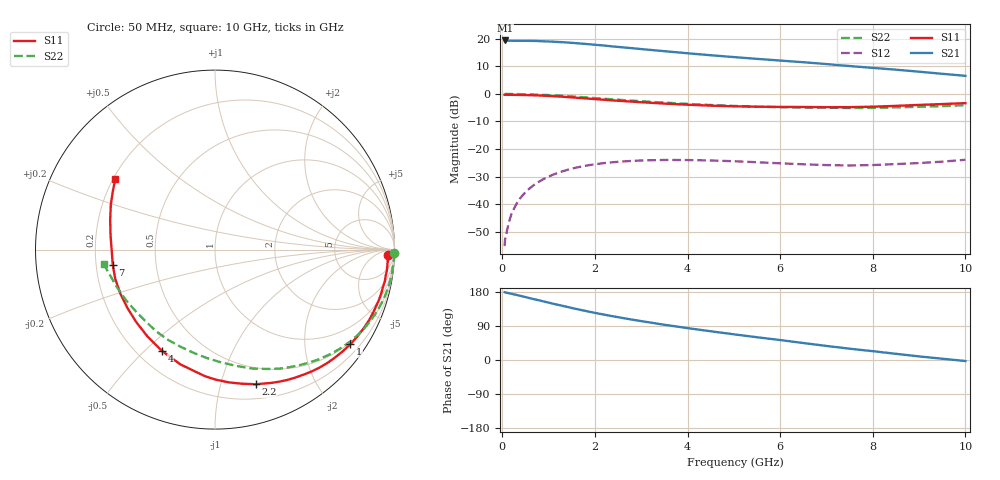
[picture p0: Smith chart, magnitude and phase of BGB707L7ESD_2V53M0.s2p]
!  Infineon Technologies AG
!  BGB707L7ESD RU919007 w#7 Sample Build #08493 Teil Nr. 3
!  Vce = 2.5V, Ic = 3.0mA
!  DATUM: 30.06.2009 10:16:38
# GHz  S  MA  R  50
!f  S11  S21  S12  S22
!GHz  Mag  Ang  Mag  Ang  Mag  Ang  Mag  Ang
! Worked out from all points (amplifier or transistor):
!   52 points, 50 MHz to 10 GHz, reference 50 ohm
!   highest |S21| = 19.4 dB at 60 MHz (marker M1)
!   |S21| within 3 dB of that: start of sweep to 2.92 GHz
!   unconditionally stable (mu >= 1): 6.799 GHz to end of sweep
!   at 130 MHz: K = 0.01, MSG = 33.4 dB, |S12| = -47.4 dB
!   at 1.4 GHz: K = 0.09, MSG = 23.1 dB, |S12| = -27.6 dB
!   at 10 GHz: K = 1.07, MAG = 13.7 dB, |S12| = -23.9 dB
!   lowest NFmin = 0.40 dB at 100 MHz
!   S11 on the Smith chart (normalised r, x): 50 MHz: 34, -29; 1 GHz: 0.45, -3.12; 2.2 GHz: 0.33, -1.29; 4 GHz: 0.30, -0.56; 7 GHz: 0.27, -0.07; 10 GHz: 0.21, +0.31
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0.05  0.9662 -1.6  9.197 178.8  0.001716 98.8  0.9989 -1.1
0.06  0.9696 -2.4  9.369 178.5  0.002308 88.5  0.9988 -1.4
0.08  0.9625 -2.5  9.215 177.7  0.00265 90.3  0.9988 -1.9
0.09  0.9682 -3.4  9.283 178.1  0.002854 85.2  0.9989 -2.2
0.1  0.9628 -3.6  9.238 177.2  0.003251 87.3  0.9985 -2.4
0.2  0.9646 -7.1  9.274 174.8  0.006662 86.0  0.9971 -5.0
0.35  0.959 -12.4  9.245 170.4  0.01154 82.1  0.9933 -8.7
0.7  0.9443 -24.7  9.18 160.1  0.02271 73.8  0.9765 -17.3
1  0.9204 -34.9  8.97 151.5  0.0315 66.8  0.9532 -24.5
1.2  0.9002 -41.7  8.798 145.6  0.03686 62.1  0.9338 -29.3
1.4  0.8786 -48.4  8.6 140.2  0.0417 57.8  0.9125 -33.8
1.8  0.8301 -61.1  8.107 129.5  0.04964 49.6  0.8651 -42.5
2.2  0.7839 -73.1  7.57 119.7  0.05544 42.3  0.8179 -50.4
2.8  0.7246 -89.6  6.788 106.6  0.06074 33.3  0.7561 -61.1
3.5  0.6681 -106.7  5.982 93.0  0.06322 25.1  0.6962 -72.3
4  0.637 -117.7  5.486 84.1  0.06297 20.5  0.6595 -79.5
4.5  0.613 -127.9  5.046 75.8  0.06184 17.2  0.6297 -86.8
5.5  0.5861 -146.7  4.338 60.1  0.05745 13.6  0.587 -102.0
6.5  0.5792 -163.5  3.77 44.9  0.05273 15.1  0.5668 -117.7
7  0.5761 -171.6  3.491 37.1  0.05098 17.6  0.5609 -125.9
8.5  0.6068 164.2  2.759 16.4  0.05319 28.9  0.5701 -150.1
10  0.6805 144.7  2.133 -2.7  0.06366 36.1  0.6254 -172.5
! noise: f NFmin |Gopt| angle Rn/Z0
0.1  0.4  0.63  2  0.21
0.45  0.47  0.63  4  0.21
0.9  0.57  0.65  13  0.2
1.8  0.64  0.51  35  0.2
5  1.07  0.41  77  0.19
10  1.82  0.45  -140  0.13
